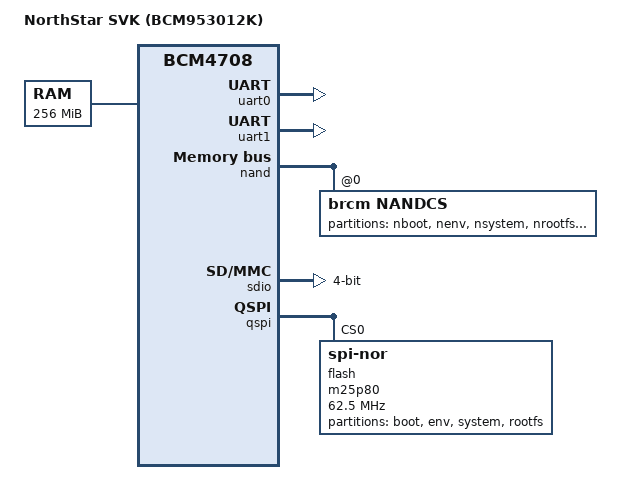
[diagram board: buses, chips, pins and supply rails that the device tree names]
/*
 *  BSD LICENSE
 *
 *  Copyright(c) 2015 Broadcom Corporation.  All rights reserved.
 *
 *  Redistribution and use in source and binary forms, with or without
 *  modification, are permitted provided that the following conditions
 *  are met:
 *
 *    * Redistributions of source code must retain the above copyright
 *      notice, this list of conditions and the following disclaimer.
 *    * Redistributions in binary form must reproduce the above copyright
 *      notice, this list of conditions and the following disclaimer in
 *      the documentation and/or other materials provided with the
 *      distribution.
 *    * Neither the name of Broadcom Corporation nor the names of its
 *      contributors may be used to endorse or promote products derived
 *      from this software without specific prior written permission.
 *
 *  THIS SOFTWARE IS PROVIDED BY THE COPYRIGHT HOLDERS AND CONTRIBUTORS
 *  "AS IS" AND ANY EXPRESS OR IMPLIED WARRANTIES, INCLUDING, BUT NOT
 *  LIMITED TO, THE IMPLIED WARRANTIES OF MERCHANTABILITY AND FITNESS FOR
 *  A PARTICULAR PURPOSE ARE DISCLAIMED. IN NO EVENT SHALL THE COPYRIGHT
 *  OWNER OR CONTRIBUTORS BE LIABLE FOR ANY DIRECT, INDIRECT, INCIDENTAL,
 *  SPECIAL, EXEMPLARY, OR CONSEQUENTIAL DAMAGES (INCLUDING, BUT NOT
 *  LIMITED TO, PROCUREMENT OF SUBSTITUTE GOODS OR SERVICES; LOSS OF USE,
 *  DATA, OR PROFITS; OR BUSINESS INTERRUPTION) HOWEVER CAUSED AND ON ANY
 *  THEORY OF LIABILITY, WHETHER IN CONTRACT, STRICT LIABILITY, OR TORT
 *  (INCLUDING NEGLIGENCE OR OTHERWISE) ARISING IN ANY WAY OUT OF THE USE
 *  OF THIS SOFTWARE, EVEN IF ADVISED OF THE POSSIBILITY OF SUCH DAMAGE.
 */

/dts-v1/;

#include "bcm4708.dtsi"

/ {
	model = "NorthStar SVK (BCM953012K)";
	compatible = "brcm,bcm953012k", "brcm,brcm53012", "brcm,bcm4708";

	aliases {
		serial0 = &uart0;
		serial1 = &uart1;
	};

	chosen {
		stdout-path = "serial0:115200n8";
	};

	memory {
		reg = <0x00000000 0x10000000>;
	};

	cru: cru@1800c184 {
		compatible = "syscon";
		reg = <0x1800c184 0x4>;
	};

	reboot: reboot@1800c184 {
		compatible ="syscon-reboot";
		regmap = <&cru>;
		offset = <0>;
		mask = <0x39>;
	};
};

&uart0 {
	status = "okay";
};

&uart1 {
	status = "okay";
};

&nand {
	nandcs@0 {
		compatible = "brcm,nandcs";
		reg = <0>;
		nand-on-flash-bbt;

		#address-cells = <1>;
		#size-cells = <1>;

		nand-ecc-strength = <4>;
		nand-ecc-step-size = <512>;

		partition@0 {
			label = "nboot";
			reg = <0x00000000 0x00200000>;
			read-only;
		};
		partition@200000 {
			label = "nenv";
			reg = <0x00200000 0x00400000>;
		};
		partition@600000 {
			label = "nsystem";
			reg = <0x00600000 0x00a00000>;
		};
		partition@1000000 {
			label = "nrootfs";
			reg = <0x01000000 0x03000000>;
		};
		partition@4000000 {
			label = "ncustfs";
			reg = <0x04000000 0x04000000>;
		};
	};
};

&sdio {
	bus-width = <4>;
	no-1-8-v;
};

&qspi {
	status = "okay";
	flash: m25p80@0 {
		#address-cells = <1>;
		#size-cells = <1>;
		compatible = "jedec,spi-nor";
		spi-max-frequency = <62500000>;
		m25p,default-addr-width = <3>;
		reg = <0x0 0x0>;

		partition@0 {
			label = "boot";
			reg = <0x00000000 0x000d0000>;
		};

		partition@d000 {
			label = "env";
			reg = <0x000d0000 0x00030000>;
		};

		partition@100000 {
			label = "system";
			reg = <0x00100000 0x00600000>;
		};

		partition@700000 {
			label = "rootfs";
			reg = <0x00700000 0x00900000>;
		};
	};
};
